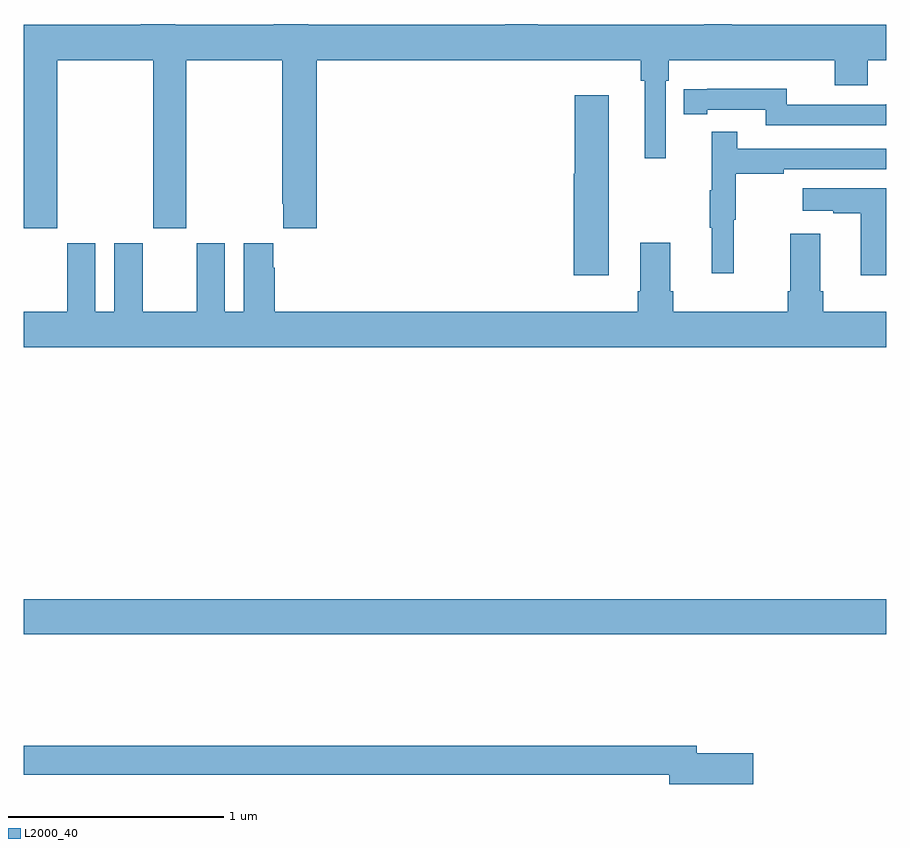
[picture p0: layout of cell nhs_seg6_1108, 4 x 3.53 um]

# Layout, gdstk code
import gdstk
lib = gdstk.Library(unit=1e-6, precision=1e-09)
def R(c, l, rs):  # rectangles x0, y0, x1, y1
    for r in rs: c.add(gdstk.rectangle(r[:2], r[2:], *l))
def P(c, l, *ps):  # polygons
    for p in ps: c.add(gdstk.Polygon(p, *l))
L2000_40 = (2000, 40)

nhs_seg6_1108 = lib.new_cell('nhs_seg6_1108')
R(nhs_seg6_1108, L2000_40, [(179,948.668,183,948.832)])
P(nhs_seg6_1108, L2000_40, [(179.154,951.332),(179.599,951.332),(179.599,950.553),(179.754,950.553),(179.754,951.332),(180.199,951.332),(180.199,950.665),(180.203,950.665),(180.203,950.553),(180.359,950.553),(180.359,951.332),(181.861,951.332),(181.861,951.236),(181.88,951.236),(181.88,950.877),(181.977,950.877),(181.977,951.236),(181.991,951.236),(181.991,951.332),(182.762,951.332),(182.762,951.215),(182.915,951.215),(182.915,951.332),(183,951.332),(183,951.496),(182.285,951.496),(182.285,951.5),(182.156,951.5),(182.156,951.496),(181.384,951.496),(181.384,951.5),(181.232,951.5),(181.232,951.496),(180.32,951.496),(180.32,951.5),(180.16,951.5),(180.16,951.496),(179.703,951.496),(179.703,951.5),(179.543,951.5),(179.543,951.496),(179,951.496),(179,950.553),(179.154,950.553)],
  [(183,951.128),(182.998,951.128),(182.998,951.126),(182.538,951.126),(182.538,951.199),(182.17,951.199),(182.17,951.198),(182.062,951.198),(182.062,951.082),(182.17,951.082),(182.17,951.102),(182.442,951.102),(182.442,951.03),(183,951.03)],
  [(181.714,951.169),(181.556,951.169),(181.556,950.805),(181.55,950.805),(181.55,950.334),(181.714,950.334)],
  [(182.294,950.592),(182.302,950.592),(182.302,950.806),(182.525,950.806),(182.525,950.826),(183,950.826),(183,950.922),(182.309,950.922),(182.309,951.001),(182.192,951.001),(182.192,950.729),(182.181,950.729),(182.181,950.555),(182.192,950.555),(182.192,950.343),(182.294,950.343)],
  [(183,950.737),(182.613,950.737),(182.613,950.633),(182.756,950.633),(182.756,950.623),(182.882,950.623),(182.882,950.334),(183,950.334)],
  [(180.02,950.482),(180.02,950.164),(179.932,950.164),(179.932,950.482),(179.801,950.482),(179.801,950.164),(179.551,950.164),(179.551,950.482),(179.42,950.482),(179.42,950.164),(179.332,950.164),(179.332,950.482),(179.201,950.482),(179.201,950.164),(179,950.164),(179,950),(183,950),(183,950.164),(182.708,950.164),(182.708,950.26),(182.695,950.26),(182.695,950.527),(182.555,950.527),(182.555,950.26),(182.543,950.26),(182.543,950.164),(182.012,950.164),(182.012,950.26),(181.999,950.26),(181.999,950.485),(181.859,950.485),(181.859,950.26),(181.847,950.26),(181.847,950.164),(180.164,950.164),(180.164,950.369),(180.157,950.369),(180.157,950.482)],
  [(182.383,948.116),(182.122,948.116),(182.122,948.152),(179,948.152),(179,948.016),(181.994,948.016),(181.994,947.974),(182.383,947.974)])

lib.write_gds('nhs_seg6_1108.gds')
